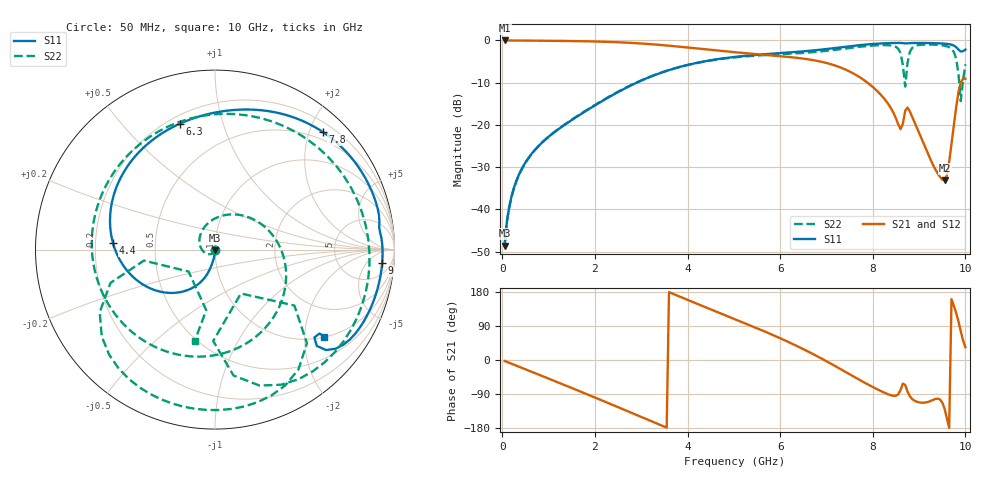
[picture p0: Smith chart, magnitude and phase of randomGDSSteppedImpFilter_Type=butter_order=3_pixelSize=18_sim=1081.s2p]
! freq	dB(S11)	phase(S11)	dB(S12)	phase(S12)
!  dB(S21)	phase(S21)	dB(S22)	phase(S22)
!S-par simulation data
#  GHz  S  DB  R 50
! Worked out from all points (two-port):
!   200 points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, 50 MHz to 10 GHz, reference 50 ohm
!   highest |S21| = 0.00 dB at 50 MHz (marker M1); lowest = -33.2 dB at 9.55 GHz (marker M2)
!   |S21| within 3 dB of the highest: start of sweep to 5.235 GHz
!   lowest |S11| = -48.6 dB at 50 MHz (marker M3), VSWR 1.01, Z = 50 - j0.372 ohm
!   |S11| at or under -10 dB: start of sweep to 2.902 GHz
!   |S22| runs from -48.7 to -1.0 dB; largest |S21 - S12| = 0
!   S11 on the Smith chart (normalised r, x): 50 MHz: 1.00, -0.01; 4.4 GHz: 0.27, +0.03; 6.3 GHz: 0.24, +0.73; 7.8 GHz: 0.36, +2.22; 9 GHz: 12, -15; 10 GHz: 1.02, -2.50
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0.05  -48.56 -86.1  -0.00 -2.5  -0.00 -2.5  -48.71 -92.1
0.2  -36.86 -91.3  -0.02 -9.9  -0.02 -9.9  -37.10 -107.1
0.45  -29.82 -95.2  -0.04 -22.1  -0.04 -22.1  -29.90 -129.7
1.75  -17.07 -107.3  -0.19 -86.3  -0.19 -86.3  -16.98 112.7
3.4  -7.76 -147.0  -1.05 -170.8  -1.05 -170.8  -7.74 -15.7
4.4  -4.88 176.2  -2.12 138.7  -2.12 138.7  -4.93 -79.2
5.05  -3.86 151.6  -2.82 106.5  -2.82 106.5  -3.98 -118.5
6.3  -2.75 105.6  -4.04 40.5  -4.04 40.5  -3.09 155.2
6.7  -2.38 91.3  -4.64 16.3  -4.64 16.3  -2.78 120.2
7.25  -1.71 70.6  -6.18 -20.3  -6.18 -20.3  -2.14 65.6
7.8  -1.02 47.6  -9.31 -58.2  -9.31 -58.2  -1.41 9.0
8.35  -0.63 23.2  -15.32 -91.3  -15.32 -91.3  -1.15 -45.7
8.55  -0.59 14.1  -19.86 -90.7  -19.86 -90.7  -1.96 -71.8
8.65  -0.64 9.6  -19.72 -62.3  -19.72 -62.3  -5.87 -91.1
8.7  -0.69 7.7  -16.66 -65.9  -16.66 -65.9  -10.93 -59.4
8.8  -0.64 4.1  -16.80 -95.6  -16.80 -95.6  -2.72 -45.5
9  -0.59 -4.6  -21.87 -111.8  -21.87 -111.8  -1.08 -74.5
9.55  -0.76 -28.6  -33.16 -128.3  -33.16 -128.3  -1.25 -123.6
9.75  -1.21 -39.4  -20.10 143.0  -20.10 143.0  -2.72 -151.5
9.85  -2.15 -43.4  -12.26 101.9  -12.26 101.9  -7.95 -171.2
9.9  -2.63 -41.5  -9.91 75.8  -9.91 75.8  -14.36 -140.2
10  -2.17 -38.5  -9.08 33.5  -9.08 33.5  -5.66 -102.5
